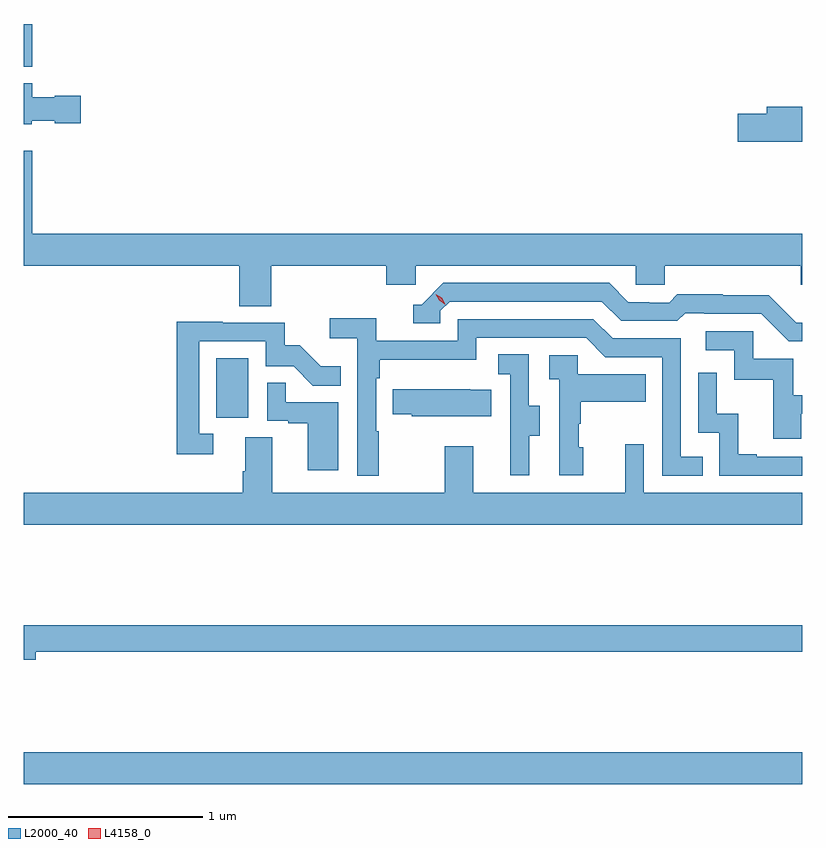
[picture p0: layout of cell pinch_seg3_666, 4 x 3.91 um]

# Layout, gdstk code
import gdstk
lib = gdstk.Library(unit=1e-6, precision=1e-09)
def R(c, l, rs):  # rectangles x0, y0, x1, y1
    for r in rs: c.add(gdstk.rectangle(r[:2], r[2:], *l))
def P(c, l, *ps):  # polygons
    for p in ps: c.add(gdstk.Polygon(p, *l))
L2000_40 = (2000, 40)
L4158_0 = (4158, 0)

pinch_seg3_666 = lib.new_cell('pinch_seg3_666')
R(pinch_seg3_666, L2000_40, [(1125.812,676.94,1129.812,677.104), (1126.802,678.822,1126.966,679.129), (1125.812,680.627,1125.854,680.846)])
P(pinch_seg3_666, L2000_40, [(1125.852,680.348),(1125.972,680.348),(1125.972,680.336),(1126.105,680.336),(1126.105,680.478),(1125.972,680.478),(1125.972,680.47),(1125.856,680.47),(1125.856,680.542),(1125.812,680.542),(1125.812,680.33),(1125.852,680.33)],
  [(1129.812,680.42),(1129.631,680.42),(1129.631,680.384),(1129.482,680.384),(1129.482,680.242),(1129.812,680.242)],
  [(1127.084,679.604),(1127.675,679.604),(1127.675,679.506),(1127.826,679.506),(1127.826,679.604),(1128.957,679.604),(1128.957,679.506),(1129.107,679.506),(1129.107,679.604),(1129.805,679.604),(1129.805,679.506),(1129.812,679.506),(1129.812,679.768),(1125.854,679.768),(1125.854,680.194),(1125.812,680.194),(1125.812,679.604),(1126.919,679.604),(1126.919,679.396),(1127.084,679.396)],
  [(1129.812,679.311),(1129.782,679.311),(1129.64,679.453),(1129.404,679.453),(1129.404,679.456),(1129.171,679.456),(1129.129,679.413),(1129.026,679.413),(1129.026,679.416),(1128.919,679.416),(1128.82,679.515),(1127.967,679.515),(1127.856,679.404),(1127.813,679.404),(1127.813,679.308),(1127.952,679.308),(1127.952,679.371),(1128,679.419),(1128.783,679.419),(1128.882,679.32),(1129.171,679.32),(1129.21,679.359),(1129.309,679.359),(1129.309,679.356),(1129.602,679.356),(1129.743,679.215),(1129.812,679.215)],
  [(1127.635,678.752),(1127.622,678.752),(1127.622,679.025),(1127.642,679.025),(1127.642,679.121),(1128.138,679.121),(1128.138,679.233),(1128.702,679.233),(1128.801,679.134),(1129.092,679.134),(1129.092,678.525),(1129.301,678.525),(1129.301,678.621),(1129.188,678.621),(1129.188,679.23),(1128.838,679.23),(1128.739,679.329),(1128.042,679.329),(1128.042,679.218),(1127.624,679.218),(1127.624,679.334),(1127.385,679.334),(1127.385,679.232),(1127.526,679.232),(1127.526,678.525),(1127.635,678.525)],
  [(1126.786,678.741),(1126.713,678.741),(1126.713,679.215),(1127.055,679.215),(1127.055,679.086),(1127.199,679.086),(1127.297,678.988),(1127.441,678.988),(1127.441,679.087),(1127.337,679.087),(1127.23,679.194),(1127.154,679.194),(1127.154,679.311),(1126.835,679.311),(1126.835,679.316),(1126.597,679.316),(1126.597,678.636),(1126.786,678.636)],
  [(1129.807,678.843),(1129.812,678.843),(1129.812,678.939),(1129.765,678.939),(1129.765,679.125),(1129.56,679.125),(1129.56,679.266),(1129.317,679.266),(1129.317,679.17),(1129.464,679.17),(1129.464,679.017),(1129.663,679.017),(1129.663,678.714),(1129.807,678.714)],
  [(1128.409,678.73),(1128.463,678.73),(1128.463,678.885),(1128.408,678.885),(1128.408,679.148),(1128.249,679.148),(1128.249,679.045),(1128.312,679.045),(1128.312,678.741),(1128.311,678.741),(1128.311,678.528),(1128.409,678.528)],
  [(1128.688,678.672),(1128.663,678.672),(1128.663,678.791),(1128.673,678.791),(1128.673,678.905),(1129.007,678.905),(1129.007,679.045),(1128.66,679.045),(1128.66,679.143),(1128.513,679.143),(1128.513,679.019),(1128.564,679.019),(1128.564,678.528),(1128.688,678.528)],
  [(1129.812,678.621),(1129.579,678.621),(1129.579,678.634),(1129.484,678.634),(1129.484,678.842),(1129.374,678.842),(1129.374,679.054),(1129.278,679.054),(1129.278,678.744),(1129.386,678.744),(1129.386,678.525),(1129.812,678.525)],
  [(1127.428,678.903),(1127.159,678.903),(1127.159,679.001),(1127.064,679.001),(1127.064,678.807),(1127.171,678.807),(1127.171,678.795),(1127.27,678.795),(1127.27,678.552),(1127.428,678.552)],
  [(1128.215,678.967),(1128.107,678.967),(1128.107,678.97),(1127.707,678.97),(1127.707,678.841),(1127.805,678.841),(1127.805,678.83),(1128.215,678.83)],
  [(1129.812,678.436),(1128.999,678.436),(1128.999,678.685),(1128.902,678.685),(1128.902,678.436),(1128.121,678.436),(1128.121,678.676),(1127.974,678.676),(1127.974,678.436),(1127.089,678.436),(1127.089,678.722),(1126.949,678.722),(1126.949,678.548),(1126.937,678.548),(1126.937,678.436),(1125.812,678.436),(1125.812,678.272),(1129.812,678.272)],
  [(1125.874,677.62),(1129.812,677.62),(1129.812,677.756),(1125.812,677.756),(1125.812,677.578),(1125.874,677.578)])
P(pinch_seg3_666, L4158_0, [(1127.976,679.406),(1127.946,679.425),(1127.929,679.457),(1127.929,679.458),(1127.93,679.458),(1127.96,679.438),(1127.977,679.406),(1127.977,679.406)])

lib.write_gds('pinch_seg3_666.gds')
